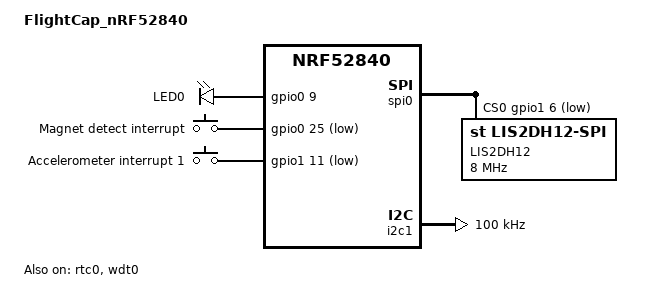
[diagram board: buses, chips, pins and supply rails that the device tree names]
/dts-v1/;
#include <nordic/nrf52840_qiaa.dtsi>
#include <zephyr/dt-bindings/i2c/i2c.h>
#include "FlightCap_nRF52840-pinctrl.dtsi"

/ {
	model = "FlightCap_nRF52840";
	compatible = "NeurotechHub,FlightCap_nRF52840";

	chosen {
		zephyr,sram = &sram0;
		zephyr,flash = &flash0;
		zephyr,code-partition = &slot0_partition;
	};

	leds {
		compatible = "gpio-leds";
		led0: led_0 {
			gpios = <&gpio0 9 GPIO_ACTIVE_HIGH>;
			label = "LED0";
		};
	};

	gpio_keys {
		compatible = "gpio-keys";
		magnet_sensor: magnet_sensor {
			gpios = <&gpio0 25 GPIO_ACTIVE_LOW>;
			label = "Magnet detect interrupt";
		};
		accel_int1: accel_int1 {
			gpios = <&gpio1 11 GPIO_ACTIVE_LOW>;
			label = "Accelerometer interrupt 1";
		};
	};

	aliases {
		led0 = &led0;
		magnet-sensor = &magnet_sensor;
		accel-int = &accel_int1;
		spi-accel = &accel0;
		i2c-bus = &i2c1;
		rtc = &rtc0;
	};
};

&gpio0 {
	status = "okay";
};

&gpio1 {
	status = "okay";
};

&gpiote {
	status = "okay";
};

&rtc0 {
	status = "okay";
};

&wdt0 {
	status = "okay";
};

&spi0 {
	compatible = "nordic,nrf-spim";
	status = "okay";
	pinctrl-0 = <&spi0_default>;
	pinctrl-1 = <&spi0_sleep>;
	pinctrl-names = "default", "sleep";
	cs-gpios = <&gpio1 6 GPIO_ACTIVE_LOW>;

	accel0: accel@0 {
		compatible = "st,lis2dh12-spi";
		reg = <0>;
		spi-max-frequency = <8000000>;
		label = "LIS2DH12";
	};
};

/*
 * I2C bus on the FlightCap pin map.
 *   SDA = P0.30  (Nordic Low-Frequency I/O pin — reduced drive strength / slew)
 *   SCL = P1.13  (standard I/O pin)
 *
 * Nordic flags P0.30 as Low-Frequency I/O in the nRF52840 product
 * specification (see https://docs.nordicsemi.com/bundle/ps_nrf52840/page/pin.html).
 * To stay within those LF I/O timing limits we run TWIM1 at standard mode
 * (100 kHz). If a slave is unreliable at this rate after hardware bring-up,
 * fall back to a software (bit-banged) I2C driver — see compatible
 * `gpio-i2c` / `zephyr,i2c-gpio` and reassign &gpio0 30 / &gpio1 13 there.
 *
 * Note on instance selection: nRF52840 instance 0 is shared between SPIM0
 * (used here for the accelerometer) and TWIM0. We therefore use TWIM1
 * (`&i2c1`) so the SPI and I2C peripherals can coexist.
 */
&i2c1 {
	compatible = "nordic,nrf-twim";
	status = "okay";
	pinctrl-0 = <&i2c1_default>;
	pinctrl-1 = <&i2c1_sleep>;
	pinctrl-names = "default", "sleep";
	clock-frequency = <I2C_BITRATE_STANDARD>;
};

&flash0 {
	partitions {
		compatible = "fixed-partitions";
		#address-cells = <1>;
		#size-cells = <1>;

		boot_partition: partition@0 {
			label = "mcuboot";
			reg = <0x00000000 DT_SIZE_K(48)>;
		};

		slot0_partition: partition@c000 {
			label = "image-0";
			reg = <0x0000c000 DT_SIZE_K(464)>;
		};

		slot1_partition: partition@80000 {
			label = "image-1";
			reg = <0x00080000 DT_SIZE_K(464)>;
		};

		storage_partition: partition@f0000 {
			label = "storage";
			reg = <0x000f0000 DT_SIZE_K(64)>;
		};
	};
};
